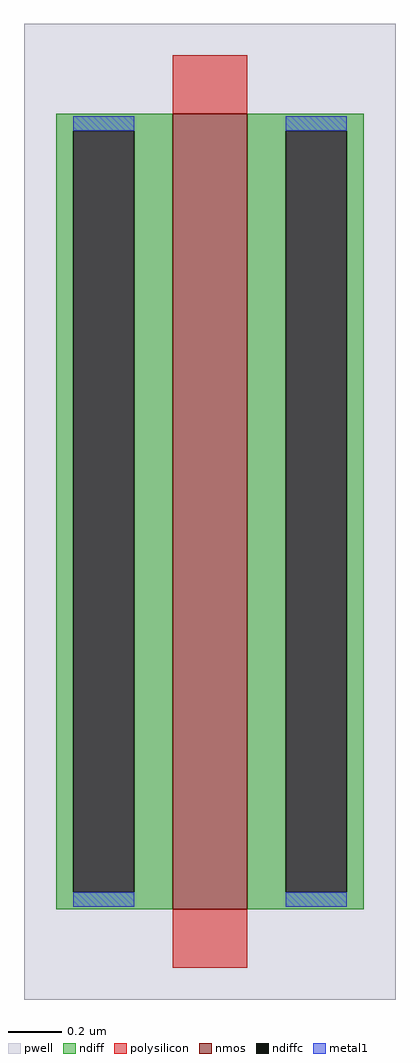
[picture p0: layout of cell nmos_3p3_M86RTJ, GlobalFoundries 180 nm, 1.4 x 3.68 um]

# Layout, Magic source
magic
tech gf180mcuC
magscale 1 10
<< pwell >>
rect -140 -368 140 368
<< nmos >>
rect -28 -300 28 300
<< ndiff >>
rect -116 287 -28 300
rect -116 -287 -103 287
rect -57 -287 -28 287
rect -116 -300 -28 -287
rect 28 287 116 300
rect 28 -287 57 287
rect 103 -287 116 287
rect 28 -300 116 -287
<< ndiffc >>
rect -103 -287 -57 287
rect 57 -287 103 287
<< polysilicon >>
rect -28 300 28 344
rect -28 -344 28 -300
<< metal1 >>
rect -103 287 -57 298
rect -103 -298 -57 -287
rect 57 287 103 298
rect 57 -298 103 -287
<< properties >>
string gencell nmos_3p3
string library gf180mcu
string parameters w 3 l 0.280 m 1 nf 1 diffcov 100 polycov 100 guard 0 glc 0 grc 0 gtc 0 gbc 0 tbcov 100 rlcov 100 topc 0 botc 0 poverlap 0 doverlap 1 lmin 0.28 wmin 0.22 full_metal 0 compatible {nmos_3p3 nmos_6p0 nmos_6p0_nat}
<< end >>
